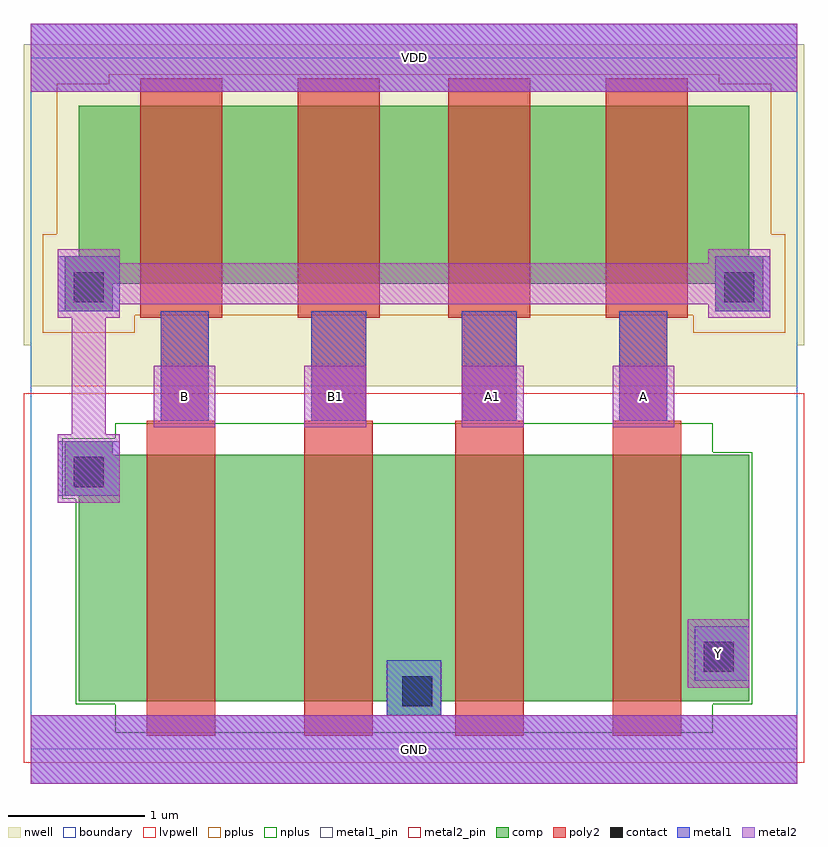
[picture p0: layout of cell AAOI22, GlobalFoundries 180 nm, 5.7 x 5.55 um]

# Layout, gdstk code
import gdstk
lib = gdstk.Library(unit=1e-6, precision=1e-09)
def R(c, l, rs):  # rectangles x0, y0, x1, y1
    for r in rs: c.add(gdstk.rectangle(r[:2], r[2:], *l))
boundary = (0, 0)
nwell = (21, 0)
comp = (22, 0)
poly2 = (30, 0)
pplus = (31, 0)
nplus = (32, 0)
contact = (33, 0)
metal1 = (34, 0)
metal1_pin = (34, 10)
metal2 = (36, 0)
metal2_pin = (36, 10)
lvpwell = (204, 0)

aaoi22 = lib.new_cell('AAOI22')
R(aaoi22, boundary, [(0,0,5.6,5.05)])
R(aaoi22, nwell, [(0,2.65,5.6,2.95), (-0.05,2.95,5.65,5.15)])
R(aaoi22, comp, [(2.6,0.25,3,0.35), (0.35,0.35,5.25,1.85), (0.25,1.85,5.25,2.15), (0.25,2.15,0.6,2.25), (0.25,3.2,0.6,3.4), (5,3.2,5.35,3.4), (0.25,3.4,5.35,3.6), (0.35,3.6,5.25,4.7)])
R(aaoi22, poly2, [(0.85,0.1,1.35,2.4), (2,0.1,2.5,2.4), (3.1,0.1,3.6,2.4), (4.25,0.1,4.75,2.4), (0.95,2.4,1.3,3.15), (2.05,2.4,2.45,3.15), (3.15,2.4,3.55,3.15), (4.3,2.4,4.65,3.15), (0.8,3.15,1.4,4.9), (1.95,3.15,2.55,4.9), (3.05,3.15,3.65,4.9), (4.2,3.15,4.8,4.9)])
R(aaoi22, pplus, [(0.09,3.04,0.76,3.17), (4.84,3.04,5.51,3.17), (0.09,3.17,5.51,3.76), (0.19,3.76,5.41,4.86), (0.57,4.86,5.03,4.93)])
R(aaoi22, nplus, [(0.62,0.12,4.98,0.33), (0.33,0.33,5.27,1.83), (0.23,1.83,5.27,2.17), (0.23,2.17,4.98,2.27), (0.62,2.27,4.98,2.38)])
R(aaoi22, contact, [(2.715,0.315,2.935,0.535), (4.915,0.565,5.135,0.785), (0.315,1.915,0.535,2.135), (0.315,3.265,0.535,3.485), (5.065,3.265,5.285,3.485)])
R(aaoi22, metal1, [(0,-0.25,5.6,0.25), (2.6,0.25,3,0.65), (4.85,0.5,5.25,0.9), (0.2,1.85,0.65,2.25), (0.95,2.4,1.3,3.2), (2.05,2.4,2.45,3.2), (3.15,2.4,3.55,3.2), (4.3,2.4,4.65,3.2), (0.2,3.2,0.65,3.6), (5,3.2,5.4,3.6), (0,4.8,5.6,5.3)])
R(aaoi22, metal1_pin, [(0,-0.25,5.6,0.25), (0,4.8,5.6,5.3)])
R(aaoi22, metal2, [(0,-0.25,5.6,0.25), (4.8,0.45,5.25,0.95), (0.2,1.8,0.65,2.3), (0.3,2.3,0.55,3.15), (0.9,2.35,1.35,2.8), (2,2.35,2.45,2.8), (3.15,2.35,3.6,2.8), (4.25,2.35,4.7,2.8), (0.2,3.15,0.65,3.25), (4.95,3.15,5.4,3.25), (0.2,3.25,5.4,3.55), (0.2,3.55,0.65,3.65), (4.95,3.55,5.4,3.65), (0,4.8,5.6,5.3)])
R(aaoi22, metal2_pin, [(4.8,0.45,5.25,0.95), (0.9,2.35,1.35,2.8), (2,2.35,2.45,2.8), (3.15,2.35,3.6,2.8), (4.25,2.35,4.7,2.8)])
R(aaoi22, lvpwell, [(-0.05,-0.1,5.65,2.6)])
aaoi22.add(gdstk.Label('VDD', (2.8,5.05), layer=34, texttype=10))
aaoi22.add(gdstk.Label('GND', (2.8,0), layer=34, texttype=10))
aaoi22.add(gdstk.Label('Y', (5.025,0.7), layer=36, texttype=10))
aaoi22.add(gdstk.Label('A1', (3.375,2.575), layer=36, texttype=10))
aaoi22.add(gdstk.Label('A', (4.475,2.575), layer=36, texttype=10))
aaoi22.add(gdstk.Label('B1', (2.225,2.575), layer=36, texttype=10))
aaoi22.add(gdstk.Label('B', (1.125,2.575), layer=36, texttype=10))

lib.write_gds('AAOI22.gds')
